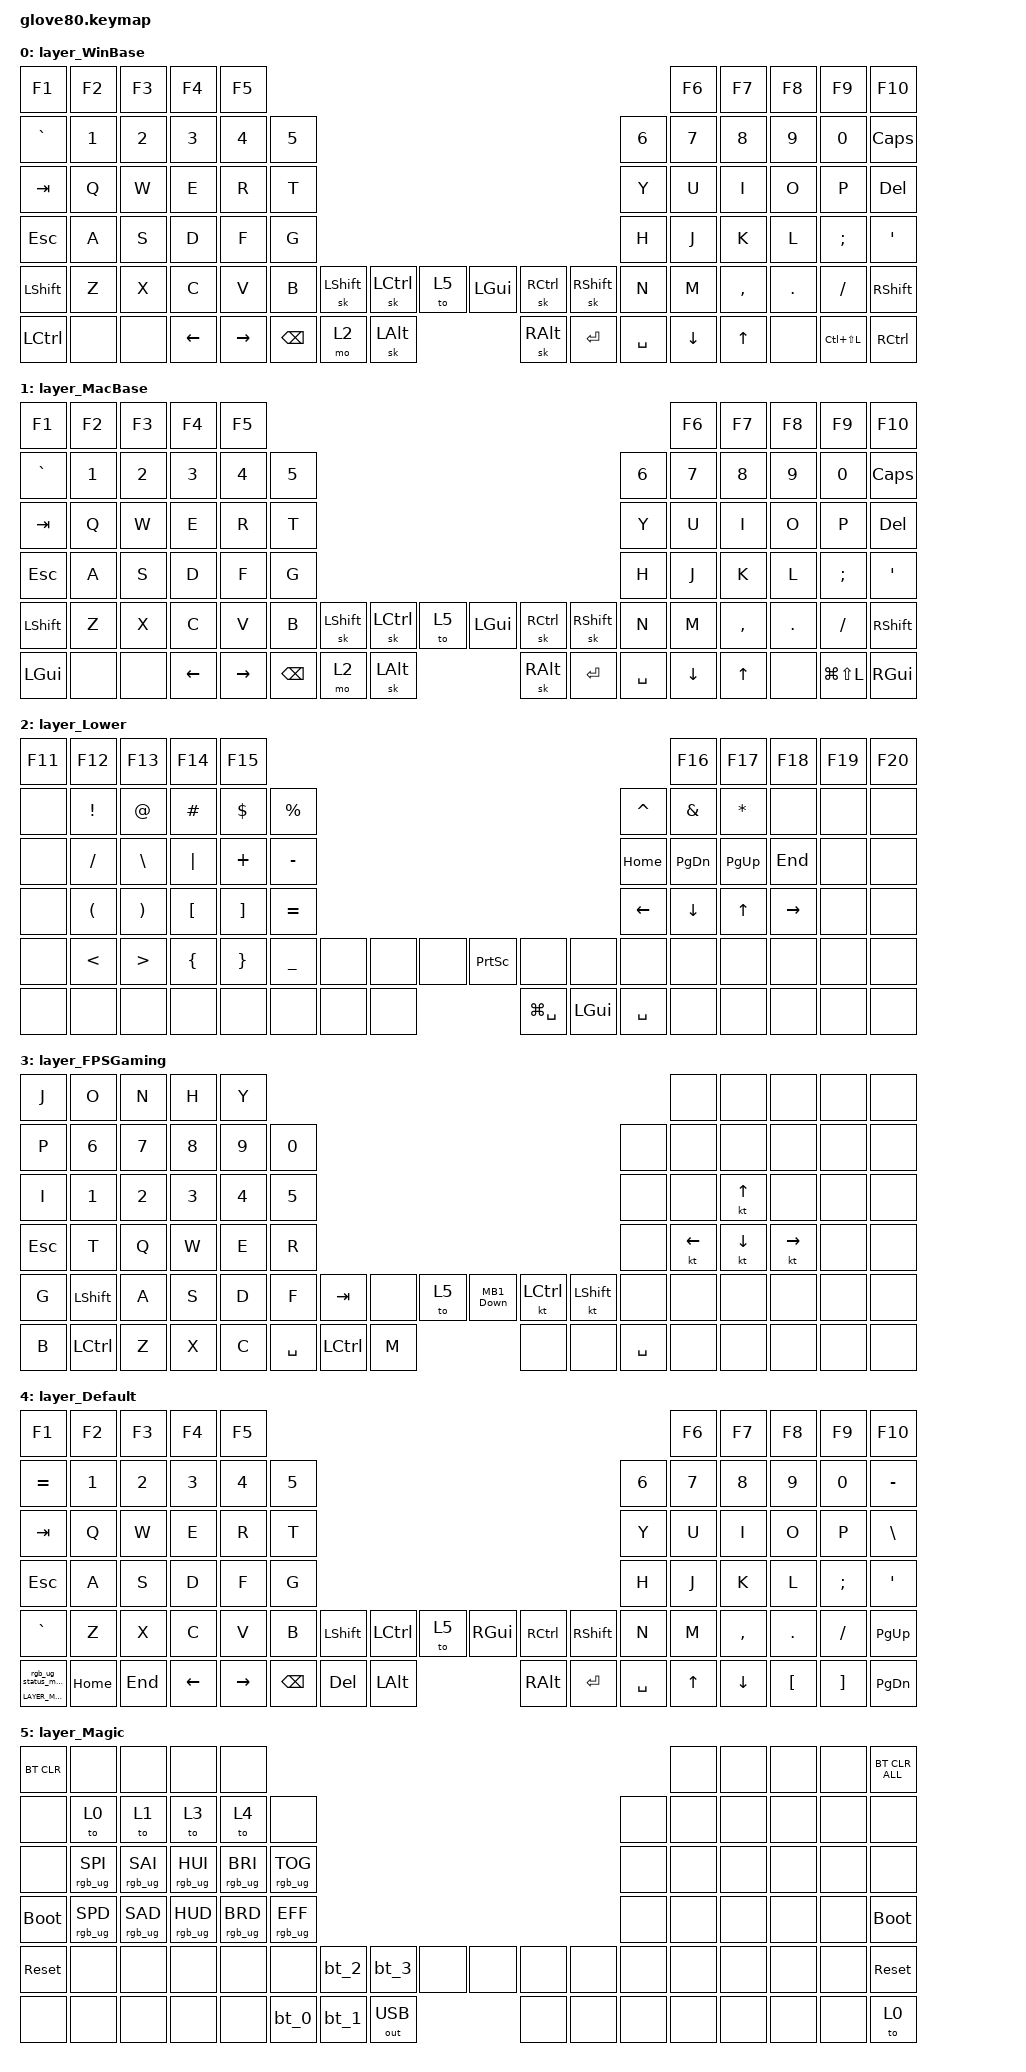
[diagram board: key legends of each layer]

/*
 * Copyright (c) 2020 The ZMK Contributors
 * Copyright (c) 2023 Innaworks Development Limited, trading as MoErgo
 *
 * SPDX-License-Identifier: MIT
 */


/* THIS FILE WAS GENERATED BY GLOVE80 LAYOUT EDITOR
 *
 * This file was generated automatically. You may or may not want to
 * edit it directly.
 */

#include <behaviors.dtsi>
/* Include all behavior includes needed */
#include <dt-bindings/zmk/outputs.h>
#include <dt-bindings/zmk/keys.h>
#include <dt-bindings/zmk/bt.h>
#include <dt-bindings/zmk/rgb.h>

/* On demand includes */


/* Automatically generated layer name #define */
#define LAYER_WinBase 0
#define LAYER_MacBase 1
#define LAYER_Lower 2
#define LAYER_FPSGaming 3
#define LAYER_Default 4
#define LAYER_Magic 5

/* To deal with the situation where there is no Lower layer, to keep &lower happy */
#ifndef LAYER_Lower
#define LAYER_Lower 0
#endif

/* Custom Device-tree */
#include <dt-bindings/zmk/mouse.h>


/* Glove80 system behavior & macros */
/ {
    behaviors {
        // For the "layer" key, it'd nice to be able to use it as either a shift or a toggle.
        // Configure it as a tap dance, so the first tap (or hold) is a &mo and the second tap is a &to
        lower: lower {
            compatible = "zmk,behavior-tap-dance";
            label = "LAYER_TAP_DANCE";
            #binding-cells = <0>;
            tapping-term-ms = <200>;
            bindings = <&mo LAYER_Lower>, <&to LAYER_Lower>;
        };
    };
};

/ {
    macros {
        rgb_ug_status_macro: rgb_ug_status_macro {
            label = "RGB_UG_STATUS";
            compatible = "zmk,behavior-macro";
            #binding-cells = <0>;
            bindings
                = <&rgb_ug RGB_STATUS>;
        };
    };
};


/ {
#ifdef BT_DISC_CMD
    behaviors {
        bt_0: bt_0 {
            compatible = "zmk,behavior-tap-dance";
            label = "BT_0";
            #binding-cells = <0>;
            tapping-term-ms = <200>;
            bindings = <&bt_select_0>, <&bt BT_DISC 0>;
        };
        bt_1: bt_1 {
            compatible = "zmk,behavior-tap-dance";
            label = "BT_1";
            #binding-cells = <0>;
            tapping-term-ms = <200>;
            bindings = <&bt_select_1>, <&bt BT_DISC 1>;
        };
        bt_2: bt_2 {
            compatible = "zmk,behavior-tap-dance";
            label = "BT_2";
            #binding-cells = <0>;
            tapping-term-ms = <200>;
            bindings = <&bt_select_2>, <&bt BT_DISC 2>;
        };
        bt_3: bt_3 {
            compatible = "zmk,behavior-tap-dance";
            label = "BT_3";
            #binding-cells = <0>;
            tapping-term-ms = <200>;
            bindings = <&bt_select_3>, <&bt BT_DISC 3>;
        };
    };
    macros {
        bt_select_0: bt_select_0 {
            label = "BT_SELECT_0";
            compatible = "zmk,behavior-macro";
            #binding-cells = <0>;
            bindings
                = <&out OUT_BLE>,
                  <&bt BT_SEL 0>;
        };
        bt_select_1: bt_select_1 {
            label = "BT_SELECT_1";
            compatible = "zmk,behavior-macro";
            #binding-cells = <0>;
            bindings
                = <&out OUT_BLE>,
                  <&bt BT_SEL 1>;
        };
        bt_select_2: bt_select_2 {
            label = "BT_SELECT_2";
            compatible = "zmk,behavior-macro";
            #binding-cells = <0>;
            bindings
                = <&out OUT_BLE>,
                  <&bt BT_SEL 2>;
        };
        bt_select_3: bt_select_3 {
            label = "BT_SELECT_3";
            compatible = "zmk,behavior-macro";
            #binding-cells = <0>;
            bindings
                = <&out OUT_BLE>,
                  <&bt BT_SEL 3>;
        };
    };
#else
    macros {
        bt_0: bt_0 {
            label = "BT_0";
            compatible = "zmk,behavior-macro";
            #binding-cells = <0>;
            bindings
                = <&out OUT_BLE>,
                  <&bt BT_SEL 0>;
        };
        bt_1: bt_1 {
            label = "BT_1";
            compatible = "zmk,behavior-macro";
            #binding-cells = <0>;
            bindings
                = <&out OUT_BLE>,
                  <&bt BT_SEL 1>;
        };
        bt_2: bt_2 {
            label = "BT_2";
            compatible = "zmk,behavior-macro";
            #binding-cells = <0>;
            bindings
                = <&out OUT_BLE>,
                  <&bt BT_SEL 2>;
        };
        bt_3: bt_3 {
            label = "BT_3";
            compatible = "zmk,behavior-macro";
            #binding-cells = <0>;
            bindings
                = <&out OUT_BLE>,
                  <&bt BT_SEL 3>;
        };
    };
#endif
};

/ {
    behaviors {
        magic: magic {
            compatible = "zmk,behavior-hold-tap";
            label = "MAGIC_HOLD_TAP";
            #binding-cells = <2>;
            flavor = "tap-preferred";
            tapping-term-ms = <200>;
            bindings = <&mo>, <&rgb_ug_status_macro>;
        };
    };
};

/* #define for key positions */
#define POS_LH_T1 52
#define POS_LH_T2 53
#define POS_LH_T3 54
#define POS_LH_T4 69
#define POS_LH_T5 70
#define POS_LH_T6 71
#define POS_LH_C1R2 15
#define POS_LH_C1R3 27
#define POS_LH_C1R4 39
#define POS_LH_C1R5 51
#define POS_LH_C2R1 4
#define POS_LH_C2R2 14
#define POS_LH_C2R3 26
#define POS_LH_C2R4 38
#define POS_LH_C2R5 50
#define POS_LH_C2R6 68
#define POS_LH_C3R1 3
#define POS_LH_C3R2 13
#define POS_LH_C3R3 25
#define POS_LH_C3R4 37
#define POS_LH_C3R5 49
#define POS_LH_C3R6 67
#define POS_LH_C4R1 2
#define POS_LH_C4R2 12
#define POS_LH_C4R3 24
#define POS_LH_C4R4 36
#define POS_LH_C4R5 48
#define POS_LH_C4R6 66
#define POS_LH_C5R1 1
#define POS_LH_C5R2 11
#define POS_LH_C5R3 23
#define POS_LH_C5R4 35
#define POS_LH_C5R5 47
#define POS_LH_C5R6 65
#define POS_LH_C6R1 0
#define POS_LH_C6R2 10
#define POS_LH_C6R3 22
#define POS_LH_C6R4 34
#define POS_LH_C6R5 46
#define POS_LH_C6R6 64
#define POS_RH_T1 57
#define POS_RH_T2 56
#define POS_RH_T3 55
#define POS_RH_T4 74
#define POS_RH_T5 73
#define POS_RH_T6 72
#define POS_RH_C1R2 16
#define POS_RH_C1R3 28
#define POS_RH_C1R4 40
#define POS_RH_C1R5 58
#define POS_RH_C2R1 5
#define POS_RH_C2R2 17
#define POS_RH_C2R3 29
#define POS_RH_C2R4 41
#define POS_RH_C2R5 59
#define POS_RH_C2R6 75
#define POS_RH_C3R1 6
#define POS_RH_C3R2 18
#define POS_RH_C3R3 30
#define POS_RH_C3R4 42
#define POS_RH_C3R5 60
#define POS_RH_C3R6 76
#define POS_RH_C4R1 7
#define POS_RH_C4R2 19
#define POS_RH_C4R3 31
#define POS_RH_C4R4 43
#define POS_RH_C4R5 61
#define POS_RH_C4R6 77
#define POS_RH_C5R1 8
#define POS_RH_C5R2 20
#define POS_RH_C5R3 32
#define POS_RH_C5R4 44
#define POS_RH_C5R5 62
#define POS_RH_C5R6 78
#define POS_RH_C6R1 9
#define POS_RH_C6R2 21
#define POS_RH_C6R3 33
#define POS_RH_C6R4 45
#define POS_RH_C6R5 63
#define POS_RH_C6R6 79

/* Custom Defined Behaviors */
/ {

};

/* Automatically generated macro definitions */
/ {
    macros {
    
        // Sends MB1 Down
        MB1_Down: MB1_Down {
            label = "&MB1_DOWN";
            compatible = "zmk,behavior-macro";
            #binding-cells = <0>;
            bindings = <&macro_press>
                , <&mkp MB1>;
        };
    };
};

/* Automatically generated behavior definitions */
/ {
    behaviors {
    
    };
};

/* Automatically generated combos definitions */


/* Automatically generated keymap */
/ {
    keymap {
        compatible = "zmk,keymap";


        layer_WinBase {
            bindings = <
    &kp F1  &kp F2  &kp F3    &kp F4     &kp F5                                                                                    &kp F6     &kp F7   &kp F8         &kp F9    &kp F10
 &kp GRAVE  &kp N1  &kp N2    &kp N3     &kp N4  &kp N5                                                                  &kp N6    &kp N7     &kp N8   &kp N9         &kp N0   &kp CAPS
   &kp TAB   &kp Q   &kp W     &kp E      &kp R   &kp T                                                                   &kp Y     &kp U      &kp I    &kp O          &kp P    &kp DEL
   &kp ESC   &kp A   &kp S     &kp D      &kp F   &kp G                                                                   &kp H     &kp J      &kp K    &kp L       &kp SEMI    &kp SQT
 &kp LSHFT   &kp Z   &kp X     &kp C      &kp V   &kp B  &sk LSHFT  &sk LCTRL     &to 5  &kp LGUI  &sk RCTRL  &sk RSHFT   &kp N     &kp M  &kp COMMA  &kp DOT       &kp FSLH  &kp RSHFT
 &kp LCTRL   &none   &none  &kp LEFT  &kp RIGHT           &kp BSPC      &mo 2  &sk LALT  &sk RALT    &kp RET  &kp SPACE          &kp DOWN     &kp UP    &none  &kp LC(LS(L))  &kp RCTRL
            >;
        };

        layer_MacBase {
            bindings = <
    &kp F1  &kp F2  &kp F3    &kp F4     &kp F5                                                                                    &kp F6     &kp F7   &kp F8         &kp F9    &kp F10
 &kp GRAVE  &kp N1  &kp N2    &kp N3     &kp N4  &kp N5                                                                  &kp N6    &kp N7     &kp N8   &kp N9         &kp N0   &kp CAPS
   &kp TAB   &kp Q   &kp W     &kp E      &kp R   &kp T                                                                   &kp Y     &kp U      &kp I    &kp O          &kp P    &kp DEL
   &kp ESC   &kp A   &kp S     &kp D      &kp F   &kp G                                                                   &kp H     &kp J      &kp K    &kp L       &kp SEMI    &kp SQT
 &kp LSHFT   &kp Z   &kp X     &kp C      &kp V   &kp B  &sk LSHFT  &sk LCTRL     &to 5  &kp LGUI  &sk RCTRL  &sk RSHFT   &kp N     &kp M  &kp COMMA  &kp DOT       &kp FSLH  &kp RSHFT
  &kp LGUI   &none   &none  &kp LEFT  &kp RIGHT           &kp BSPC      &mo 2  &sk LALT  &sk RALT    &kp RET  &kp SPACE          &kp DOWN     &kp UP    &none  &kp LG(LS(L))   &kp RGUI
            >;
        };

        layer_Lower {
            bindings = <
 &kp F11   &kp F12   &kp F13   &kp F14   &kp F15                                                                                      &kp F16    &kp F17    &kp F18  &kp F19  &kp F20
   &none  &kp EXCL    &kp AT  &kp HASH  &kp DLLR  &kp PRCNT                                                              &kp CARET   &kp AMPS   &kp STAR      &none    &none    &none
   &none  &kp FSLH  &kp BSLH  &kp PIPE  &kp PLUS  &kp MINUS                                                               &kp HOME  &kp PG_DN  &kp PG_UP    &kp END    &none    &none
   &none  &kp LPAR  &kp RPAR  &kp LBKT  &kp RBKT  &kp EQUAL                                                               &kp LEFT   &kp DOWN     &kp UP  &kp RIGHT    &none    &none
   &none    &kp LT    &kp GT  &kp LBRC  &kp RBRC  &kp UNDER   &none   &none   &none      &kp PSCRN     &none      &none      &none      &none      &none      &none    &none    &none
   &none     &none     &none     &none     &none              &none   &none   &none  &kp LG(SPACE)  &kp LGUI  &kp SPACE                 &none      &none      &none    &none    &none
            >;
        };

        layer_FPSGaming {
            bindings = <
   &kp J      &kp O   &kp N   &kp H   &kp Y                                                                                    &none     &none      &none   &none   &none
   &kp P     &kp N6  &kp N7  &kp N8  &kp N9  &kp N0                                                                  &none     &none     &none      &none   &none   &none
   &kp I     &kp N1  &kp N2  &kp N3  &kp N4  &kp N5                                                                  &none     &none    &kt UP      &none   &none   &none
 &kp ESC      &kp T   &kp Q   &kp W   &kp E   &kp R                                                                  &none  &kt LEFT  &kt DOWN  &kt RIGHT   &none   &none
   &kp G  &kp LSHFT   &kp A   &kp S   &kp D   &kp F    &kp TAB      &none   &to 5  &MB1_Down  &kt LCTRL  &kt LSHFT   &none     &none     &none      &none   &none   &none
   &kp B  &kp LCTRL   &kp Z   &kp X   &kp C          &kp SPACE  &kp LCTRL   &kp M      &none      &none  &kp SPACE             &none     &none      &none   &none   &none
            >;
        };

        layer_Default {
            bindings = <
               &kp F1    &kp F2   &kp F3    &kp F4     &kp F5                                                                                  &kp F6     &kp F7    &kp F8    &kp F9    &kp F10
            &kp EQUAL    &kp N1   &kp N2    &kp N3     &kp N4  &kp N5                                                                  &kp N6  &kp N7     &kp N8    &kp N9    &kp N0  &kp MINUS
              &kp TAB     &kp Q    &kp W     &kp E      &kp R   &kp T                                                                   &kp Y   &kp U      &kp I     &kp O     &kp P   &kp BSLH
              &kp ESC     &kp A    &kp S     &kp D      &kp F   &kp G                                                                   &kp H   &kp J      &kp K     &kp L  &kp SEMI    &kp SQT
            &kp GRAVE     &kp Z    &kp X     &kp C      &kp V   &kp B  &kp LSHFT  &kp LCTRL     &to 5  &kp RGUI  &kp RCTRL  &kp RSHFT   &kp N   &kp M  &kp COMMA   &kp DOT  &kp FSLH  &kp PG_UP
 &magic LAYER_Magic 0  &kp HOME  &kp END  &kp LEFT  &kp RIGHT           &kp BSPC    &kp DEL  &kp LALT  &kp RALT    &kp RET  &kp SPACE          &kp UP   &kp DOWN  &kp LBKT  &kp RBKT  &kp PG_DN
            >;
        };

        layer_Magic {
            bindings = <
  &bt BT_CLR            &none            &none            &none            &none                                                                                  &none   &none   &none   &none  &bt BT_CLR_ALL
       &none            &to 0            &to 1            &to 3            &to 4            &none                                                         &none   &none   &none   &none   &none           &none
       &none  &rgb_ug RGB_SPI  &rgb_ug RGB_SAI  &rgb_ug RGB_HUI  &rgb_ug RGB_BRI  &rgb_ug RGB_TOG                                                         &none   &none   &none   &none   &none           &none
 &bootloader  &rgb_ug RGB_SPD  &rgb_ug RGB_SAD  &rgb_ug RGB_HUD  &rgb_ug RGB_BRD  &rgb_ug RGB_EFF                                                         &none   &none   &none   &none   &none     &bootloader
  &sys_reset            &none            &none            &none            &none            &none   &bt_2   &bt_3         &none   &none   &none   &none   &none   &none   &none   &none   &none      &sys_reset
       &none            &none            &none            &none            &none                    &bt_0   &bt_1  &out OUT_USB   &none   &none   &none           &none   &none   &none   &none           &to 0
            >;
        };

    };
};
